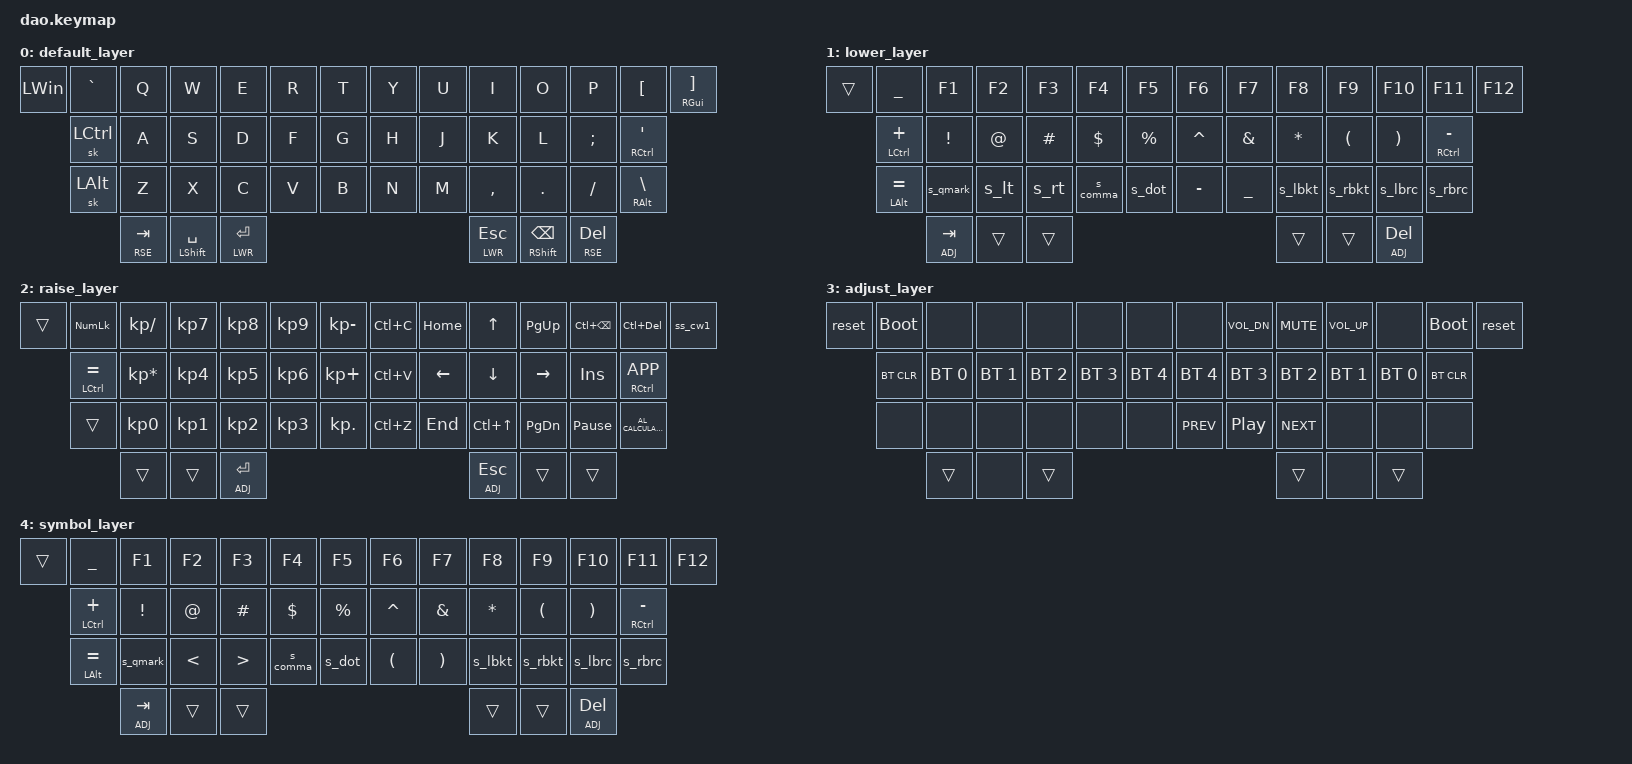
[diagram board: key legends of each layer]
/*
 * Copyright (c) 2021 Rafael Yumagulov
 *
 * SPDX-License-Identifier: MIT
 */
#define HOST_OS 2

#include <behaviors.dtsi>
#include <dt-bindings/zmk/keys.h>
#include <dt-bindings/zmk/bt.h>
#include "../../../../zmk-nodefree-config/helper.h"

#define DEF 0
#define LWR 1
#define RSE 2
#define ADJ 3
#define SMB 4

&lt { quick_tap_ms = <200>; };
&mt { quick_tap_ms = <200>; };
&sk {  // sticky key config
    release-after-ms = <600>;           // release after 0.6s
    quick-release;                      // no double capitalization when rolling keys
};

// tap: sticky-shift | lshft + tap: caps-word | hold: shift

/ {
    macros {
         lang_shift: lang_shift {
            label = "lang_shift";
            compatible = "zmk,behavior-macro";
            wait-ms = <10>;
            #binding-cells = <0>;
            bindings
                = <&macro_press &kp LEFT_ALT>
                , <&macro_tap &kp LSHIFT>
                , <&macro_release &kp LEFT_ALT>
                ;
        };
    };
};
/*
/ {
    behaviors {
        ss_cw: sticky_shift_capsword {
            compatible = "zmk,behavior-mod-morph";
            label = "sticky_shift_capsword";
            #binding-cells = <0>;
            bindings = <&mt RSHFT BSPC>, <&caps_word>;
            mods = <(MOD_LSFT)>;
        };
    };
};
*/

/ {
    combos {
        compatible = "zmk,combos";
        combo_raise {
            timeout-ms = <50>;
            key-positions = <38 39 40>;
            bindings = < &tog RSE >;
        };
        combo_lower {
            timeout-ms = <50>;
            key-positions = <41 42 43>;
            bindings = < &tog LWR >;
        };
        combo_lang_shift {
            timeout-ms = <50>;
            key-positions = <38 39>;
            bindings = < &lang_shift >;
        };
        combo_lang_shift_2 {
            timeout-ms = <50>;
            key-positions = <17 18>;
            bindings = < &lang_shift >;
        };
        combo_copy {
            timeout-ms = <50>;
            key-positions = <28 29>;
            bindings = < &kp LC(C) >;
        };  
        combo_paste {
            timeout-ms = <50>;
            key-positions = <29 30>;
            bindings = < &kp LC(V) >;
        };     
        combo_capsword {
            timeout-ms = <50>;
            key-positions = <39 42>;
            bindings = < &caps_word >;
        };
        smb_layer {
            timeout-ms = <50>;
            key-positions = <39 40>;
            bindings = < &tog 4 >;
        }; 
    };
};

ZMK_COMBO(cut, &kp LC(X), 27 28, ALL)
ZMK_COMBO(undo, &kp LC(Z), 26 27, ALL)
// tap: sticky-shift | lshft + tap: caps-word | hold: shift
ZMK_BEHAVIOR(ss_cw1, mod_morph,
    bindings = <&mt RSHFT BSPC>, <&caps_word>;
    mods = <(MOD_LSFT)>;
)
/*
ZMK_BEHAVIOR(sym_dot, macro,
    wait-ms = <0>;
    tap-ms = <1>;
    bindings = <&macro_press &kp LEFT_ALT>
             , <&macro_tap &kp KP_N4, &kp KP_N6>
             , <&macro_release &kp LEFT_ALT>;
)

ZMK_BEHAVIOR(sym_comma, macro,
    wait-ms = <0>;
    tap-ms = <1>;
    bindings = <&macro_press &kp LEFT_ALT>
             , <&macro_tap &kp KP_N4, &kp KP_N4>
             , <&macro_release &kp LEFT_ALT>;
)

ZMK_BEHAVIOR(sym_qmark, macro,
    wait-ms = <0>;
    tap-ms = <1>;
    bindings = <&macro_press &kp LEFT_ALT>
             , <&macro_tap &kp KP_N6, &kp KP_N3>
             , <&macro_release &kp LEFT_ALT>;
)

ZMK_BEHAVIOR(sym_lbkt, macro,
    wait-ms = <0>;
    tap-ms = <1>;
    bindings = <&macro_press &kp LEFT_ALT>
             , <&macro_tap &kp KP_N9, &kp KP_N1>
             , <&macro_release &kp LEFT_ALT>;
)

ZMK_BEHAVIOR(sym_rbkt, macro,
    wait-ms = <0>;
    tap-ms = <1>;
    bindings = <&macro_press &kp LEFT_ALT>
             , <&macro_tap &kp KP_N9, &kp KP_N3>
             , <&macro_release &kp LEFT_ALT>;
)

ZMK_BEHAVIOR(sym_lbrc, macro,
    wait-ms = <0>;
    tap-ms = <1>;
    bindings = <&macro_press &kp LEFT_ALT>
             , <&macro_tap &kp KP_N1, &kp KP_N2, &kp KP_N3>
             , <&macro_release &kp LEFT_ALT>;
)

ZMK_BEHAVIOR(sym_rbrc, macro,
    wait-ms = <0>;
    tap-ms = <1>;
    bindings = <&macro_press &kp LEFT_ALT>
             , <&macro_tap &kp KP_N1, &kp KP_N2, &kp KP_N5>
             , <&macro_release &kp LEFT_ALT>;
)
*/


ZMK_UNICODE_SINGLE(s_dot, KP_N0, KP_N0, KP_N4, KP_N6)       // .
ZMK_UNICODE_SINGLE(s_comma, KP_N0, KP_N0, KP_N4, KP_N4)     // ,
ZMK_UNICODE_SINGLE(s_qmark, KP_N0, KP_N0, KP_N6, KP_N3)     // ?
//ZMK_UNICODE_SINGLE(sym_less, KP_N6, KP_N3)
ZMK_UNICODE_SINGLE(s_lbkt, KP_N0, KP_N0, KP_N9, KP_N1)      // [
ZMK_UNICODE_SINGLE(s_rbkt, KP_N0, KP_N0, KP_N9, KP_N3)      // ]
ZMK_UNICODE_SINGLE(s_lbrc, KP_N0, KP_N1, KP_N2, KP_N3)      // {
ZMK_UNICODE_SINGLE(s_rbrc, KP_N0, KP_N1, KP_N2, KP_N5)      // }
ZMK_UNICODE_SINGLE(s_lt, KP_N0, KP_N0, KP_N6, KP_N0)        // <
ZMK_UNICODE_SINGLE(s_rt, KP_N0, KP_N0, KP_N6, KP_N3)        // >
/ {
        keymap {
                compatible = "zmk,keymap";

                default_layer {
// -----------------------------------------------------------------------------------------
// |  GUI |   ~  |  Q  |  W  |  E  |  R  |  T  |   |  Y  |  U   |  I  |  O  |  P  |  [   | GUI/] |
//        | CTRL |  A  |  S  |  D  |  F  |  G  |   |  H  |  J   |  K  |  L  |  ;  |CTRL/'|
//        | LALT |  Z  |  X  |  C  |  V  |  B  |   |  N  |  M   |  ,  |  .  |  /  | RALT |
//                           | RSE | SPC | LWR |   | LWR | BKSP | RSE |
                        bindings = <
   &kp LWIN &kp GRAVE &kp Q &kp W &kp E &kp R &kp T &kp Y         &kp U  &kp I     &kp O   &kp P    &kp LBKT &mt RGUI RBKT
            &sk LCTRL &kp A &kp S &kp D &kp F &kp G &kp H         &kp J  &kp K     &kp L   &kp SEMI &mt RCTRL SQT
            &sk LALT  &kp Z &kp X &kp C &kp V &kp B &kp N         &kp M  &kp COMMA &kp DOT &kp FSLH &mt RALT BSLH
                         &lt RSE TAB &mt LSHFT SPACE &lt LWR RET &lt LWR ESC &mt RSHFT BSPC &lt RSE DEL
                        >;
                };
                lower_layer {
// -----------------------------------------------------------------------------------------
// |     |  _  |  F1 |  F2 |  F3 |  F4 |  F5 |   |  F6 |  F7 |  F8 |  F9 | F10 | F11 | F12 |
//       |  +  |  !  |  @  |  #  |  $  |  %  |   |  ^  |  &  |  *  |  (  |  )  |  -  |
//       |  =  |  ?  |  <  |  >  |  ,  |  .  |   |  -  |  _  |  [  |  ]  |  {  |  }  |
//                    | GUI |     | SPC |   | ENT |     | ALT |
                        bindings = <
   &trans &kp UNDER      &kp F1   &kp F2 &kp F3   &kp F4   &kp F5           &kp F6    &kp F7   &kp F8   &kp F9   &kp F10  &kp F11 &kp F12
          &mt LCTRL PLUS &kp EXCL &kp AT &kp HASH &kp DLLR &kp PRCNT        &kp CARET &kp AMPS &kp STAR &kp LPAR &kp RPAR &mt RCTRL MINUS
          &mt LALT EQUAL &s_qmark &s_lt  &s_rt    &s_comma &s_dot           &kp MINUS  &kp UNDER &s_lbkt  &s_rbkt  &s_lbrc  &s_rbrc
                                         &lt ADJ TAB &trans &trans          &trans &trans &lt ADJ DEL
                        >;
                };
                raise_layer {
// -----------------------------------------------------------------------------------------
// |     | NMLK |  /  |  7  |  8  |  9  |  -  |   | VOLU| HOME| PRSC| PGUP| SCLK| CLCK|     |
//       | CTRL |  *  |  4  |  5  |  6  |  +  |   | MUT | LEFT|  UP | RGHT| INS | APP |
//       |      |  0  |  1  |  2  |  3  |  .  |   | VOLD| END | DOWN| PGDN| PAUS|     |
//                          |     |     | ADJ |   | ADJ |     |     |
                        bindings = <
   &trans &kp KP_NUM      &kp KP_SLASH    &kp KP_N7 &kp KP_N8 &kp KP_N9 &kp KP_MINUS        &kp LC(C) &kp HOME &kp UP      &kp PG_UP &kp LC(BSPC)    &kp LC(DEL) &ss_cw1
          &mt LCTRL EQUAL &kp KP_MULTIPLY &kp KP_N4 &kp KP_N5 &kp KP_N6 &kp KP_PLUS         &kp LC(V) &kp LEFT &kp DOWN    &kp RIGHT &kp INS         &mt RCTRL K_APP
          &trans          &kp KP_N0       &kp KP_N1 &kp KP_N2 &kp KP_N3 &kp KP_DOT          &kp LC(Z) &kp END  &kp LC(UP)  &kp PG_DN &kp PAUSE_BREAK &kp C_AL_CALCULATOR
                                                           &trans &trans &lt ADJ RET   &lt ADJ ESC &trans &trans
                        >;
                };
                adjust_layer {
// -----------------------------------------------------------------------------------------
// | RST | BLDR |     |     |     |     |     |   | M1  |     |     |     |     | BLDR | RST |
//       | BTCLR| BT0 | BT1 | BT2 | BT3 | BT4 |   | BT4 | BT3 | BT2 | BT1 | BT0 | BTCLR|
//       |      |     |     |     |     |     |   |     |     |     |     |     |      |
//                          |     |     |     |   |     |     |     |
                        bindings = <
   &reset &bootloader  &none        &none        &none        &none        &none              &none        &kp C_VOL_DN &kp C_MUTE   &kp C_VOL_UP &none         &bootloader &reset
          &bt BT_CLR   &bt BT_SEL 0 &bt BT_SEL 1 &bt BT_SEL 2 &bt BT_SEL 3 &bt BT_SEL 4       &bt BT_SEL 4 &bt BT_SEL 3 &bt BT_SEL 2 &bt BT_SEL 1 &bt BT_SEL 0  &bt BT_CLR
          &none        &none        &none        &none        &none        &none              &kp C_PREV   &kp C_PP     &kp C_NEXT   &none        &none         &none
                                                                    &trans &none &trans   &trans &none &trans
                        >;
                };
                symbol_layer {
// -----------------------------------------------------------------------------------------
// |     |  _  |  F1 |  F2 |  F3 |  F4 |  F5 |   |  F6 |  F7 |  F8 |  F9 | F10 | F11 | F12 |
//       |  +  |  !  |  @  |  #  |  $  |  %  |   |  ^  |  &  |  *  |  (  |  )  |  -  |
//       |  =  |  ?  |  <  |  >  |  ,  |  .  |   |  (  |  )  |  [  |  ]  |  {  |  }  |
//                    | GUI |     | SPC |   | ENT |     | ALT |
                        bindings = <
   &trans &kp UNDER      &kp F1   &kp F2 &kp F3   &kp F4   &kp F5           &kp F6    &kp F7   &kp F8   &kp F9   &kp F10  &kp F11 &kp F12
          &mt LCTRL PLUS &kp EXCL &kp AT &kp HASH &kp DLLR &kp PRCNT        &kp CARET &kp AMPS &kp STAR &kp LPAR &kp RPAR &mt RCTRL MINUS
          &mt LALT EQUAL &s_qmark &kp LT &kp GT   &s_comma &s_dot           &kp LPAR  &kp RPAR &s_lbkt  &s_rbkt  &s_lbrc  &s_rbrc
                                              &lt ADJ TAB &trans &trans   &trans &trans &lt ADJ DEL
                        >;
                };
        };
};
